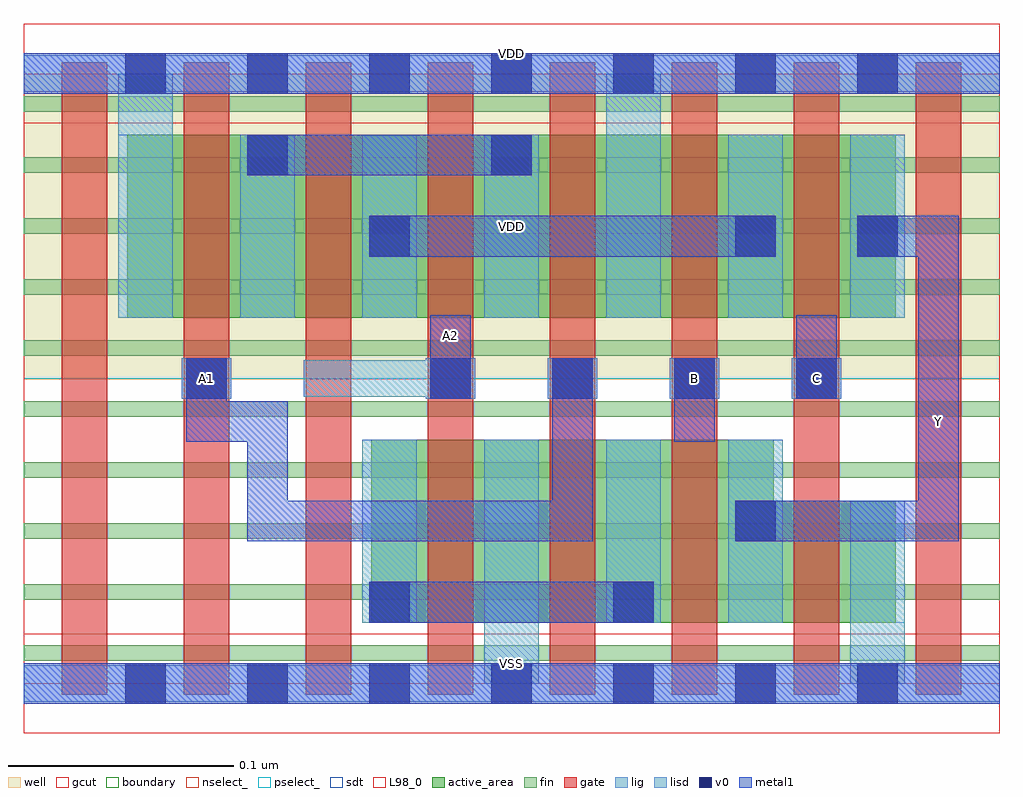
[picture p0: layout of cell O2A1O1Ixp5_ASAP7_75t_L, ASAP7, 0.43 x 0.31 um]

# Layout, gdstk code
import gdstk
lib = gdstk.Library(unit=1e-6, precision=2.5e-10)
def R(c, l, rs):  # rectangles x0, y0, x1, y1
    for r in rs: c.add(gdstk.rectangle(r[:2], r[2:], *l))
def A(c, l, x, y, w, h, nx, ny, dx, dy):  # array of equal rectangles
    R(c, l, [(x+i*dx, y+j*dy, x+i*dx+w, y+j*dy+h) for i in range(nx) for j in range(ny)])
def P(c, l, *ps):  # polygons
    for p in ps: c.add(gdstk.Polygon(p, *l))
well = (1, 0)
fin = (2, 0)
gate = (7, 0)
gcut = (10, 0)
active_area = (11, 0)
nselect_ = (12, 0)
pselect_ = (13, 0)
lig = (16, 0)
lisd = (17, 0)
v0 = (18, 0)
metal1 = (19, 0)
sdt = (88, 0)
L98_0 = (98, 0)
boundary = (100, 0)

o2a1o1ixp5_asap7_75t_l = lib.new_cell('O2A1O1Ixp5_ASAP7_75t_L')
R(o2a1o1ixp5_asap7_75t_l, well, [(0,0.135,0.432,0.27)])
A(o2a1o1ixp5_asap7_75t_l, fin, 0, 0.01, 0.432, 0.007, 1, 10, 0, 0.027)
A(o2a1o1ixp5_asap7_75t_l, gate, 0.017, -0.005, 0.02, 0.28, 8, 1, 0.054, 0)
R(o2a1o1ixp5_asap7_75t_l, gcut, [(0,-0.022,0.432,0.022), (0,0.248,0.432,0.292)])
R(o2a1o1ixp5_asap7_75t_l, active_area, [(0.046,0.162,0.386,0.243)])
P(o2a1o1ixp5_asap7_75t_l, active_area, [(0.386,0.081),(0.332,0.081),(0.332,0.108),(0.154,0.108),(0.154,0.027),(0.386,0.027)])
R(o2a1o1ixp5_asap7_75t_l, nselect_, [(0,0,0.432,0.135)])
R(o2a1o1ixp5_asap7_75t_l, pselect_, [(0,0.135,0.432,0.27)])
A(o2a1o1ixp5_asap7_75t_l, lig, 0.178, 0.126, 0.022, 0.018, 4, 1, 0.054, 0)
R(o2a1o1ixp5_asap7_75t_l, lig, [(0,-0.008,0.432,0.008), (0.07,0.126,0.092,0.144), (0.124,0.127,0.2,0.143), (0,0.262,0.432,0.278)])
A(o2a1o1ixp5_asap7_75t_l, lisd, 0.096, 0.162, 0.024, 0.081, 3, 1, 0.054, 0)
R(o2a1o1ixp5_asap7_75t_l, lisd, [(0.204,0,0.228,0.108), (0.204,0,0.228,0.108), (0.366,0,0.39,0.081), (0.366,0,0.39,0.081), (0.15,0.027,0.174,0.108), (0.258,0.027,0.282,0.108), (0.312,0.027,0.336,0.108), (0.042,0.162,0.066,0.27), (0.042,0.162,0.066,0.27), (0.258,0.162,0.282,0.27), (0.258,0.162,0.282,0.27), (0.312,0.162,0.336,0.243), (0.366,0.162,0.39,0.243)])
A(o2a1o1ixp5_asap7_75t_l, v0, 0.045, -0.009, 0.018, 0.018, 7, 2, 0.054, 0.27)
A(o2a1o1ixp5_asap7_75t_l, v0, 0.18, 0.126, 0.018, 0.018, 4, 1, 0.054, 0)
R(o2a1o1ixp5_asap7_75t_l, v0, [(0.153,0.027,0.171,0.045), (0.261,0.027,0.279,0.045), (0.315,0.063,0.333,0.081), (0.072,0.126,0.09,0.144), (0.153,0.189,0.171,0.207), (0.315,0.189,0.333,0.207), (0.369,0.189,0.387,0.207), (0.099,0.225,0.117,0.243), (0.207,0.225,0.225,0.243)])
A(o2a1o1ixp5_asap7_75t_l, metal1, 0.18, 0.126, 0.018, 0.018, 4, 1, 0.054, 0)
R(o2a1o1ixp5_asap7_75t_l, metal1, [(0,-0.009,0.432,0.009), (0.153,0.027,0.171,0.045), (0.153,0.027,0.279,0.045), (0.261,0.027,0.279,0.045), (0.315,0.063,0.333,0.081), (0.288,0.107,0.306,0.144), (0.072,0.126,0.09,0.144), (0.18,0.126,0.198,0.163), (0.342,0.126,0.36,0.163), (0.153,0.189,0.171,0.207), (0.153,0.189,0.333,0.207), (0.315,0.189,0.333,0.207), (0.369,0.189,0.387,0.207), (0.099,0.225,0.117,0.243), (0.099,0.225,0.225,0.243), (0.207,0.225,0.225,0.243), (0,0.261,0.432,0.279)])
P(o2a1o1ixp5_asap7_75t_l, metal1, [(0.234,0.144),(0.234,0.081),(0.117,0.081),(0.117,0.125),(0.09,0.125),(0.09,0.144),(0.072,0.144),(0.072,0.107),(0.099,0.107),(0.099,0.063),(0.252,0.063),(0.252,0.144)],
  [(0.369,0.207),(0.369,0.189),(0.396,0.189),(0.396,0.081),(0.315,0.081),(0.315,0.063),(0.414,0.063),(0.414,0.207)])
A(o2a1o1ixp5_asap7_75t_l, sdt, 0.204, 0.027, 0.024, 0.081, 3, 1, 0.054, 0)
A(o2a1o1ixp5_asap7_75t_l, sdt, 0.042, 0.162, 0.024, 0.081, 5, 1, 0.054, 0)
A(o2a1o1ixp5_asap7_75t_l, sdt, 0.258, 0.162, 0.024, 0.081, 3, 1, 0.054, 0)
R(o2a1o1ixp5_asap7_75t_l, sdt, [(0.15,0.027,0.174,0.108), (0.204,0.027,0.228,0.108), (0.366,0.027,0.39,0.081), (0.366,0.027,0.39,0.081), (0.042,0.162,0.066,0.243)])
R(o2a1o1ixp5_asap7_75t_l, L98_0, [(0,0,0.432,0.27)])
R(o2a1o1ixp5_asap7_75t_l, boundary, [(0,0,0.432,0.27)])
o2a1o1ixp5_asap7_75t_l.add(gdstk.Label('VDD', (0.216,0.2025), layer=1, texttype=251))
o2a1o1ixp5_asap7_75t_l.add(gdstk.Label('VSS', (0.216,-0.0675), layer=3, texttype=251))
o2a1o1ixp5_asap7_75t_l.add(gdstk.Label('VSS', (0.216,0.009), layer=19, texttype=251))
o2a1o1ixp5_asap7_75t_l.add(gdstk.Label('VDD', (0.216,0.279), layer=19, texttype=251))
o2a1o1ixp5_asap7_75t_l.add(gdstk.Label('A1', (0.081,0.135), layer=19, texttype=251))
o2a1o1ixp5_asap7_75t_l.add(gdstk.Label('A2', (0.189,0.154), layer=19, texttype=251))
o2a1o1ixp5_asap7_75t_l.add(gdstk.Label('B', (0.297,0.135), layer=19, texttype=251))
o2a1o1ixp5_asap7_75t_l.add(gdstk.Label('Y', (0.405,0.116), layer=19, texttype=251))
o2a1o1ixp5_asap7_75t_l.add(gdstk.Label('C', (0.351,0.135), layer=19, texttype=251))

lib.write_gds('O2A1O1Ixp5_ASAP7_75t_L.gds')
